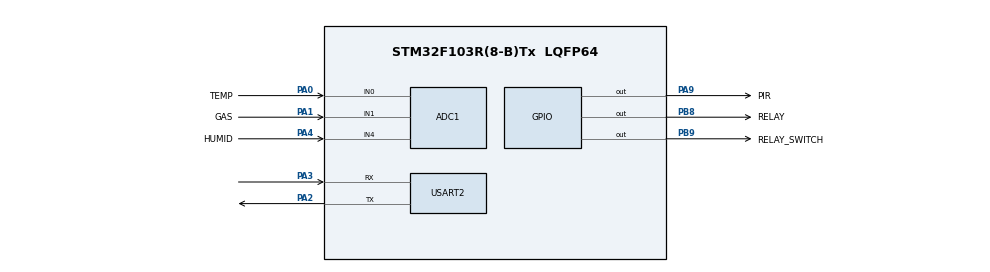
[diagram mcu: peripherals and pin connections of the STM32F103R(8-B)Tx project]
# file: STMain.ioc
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ADC1.Channel-2\#ChannelRegularConversion=ADC_CHANNEL_0
ADC1.Channel-3\#ChannelRegularConversion=ADC_CHANNEL_1
ADC1.Channel-4\#ChannelRegularConversion=ADC_CHANNEL_4
ADC1.ContinuousConvMode=DISABLE
ADC1.DataAlign=ADC_DATAALIGN_RIGHT
ADC1.DiscontinuousConvMode=ENABLE
ADC1.NbrOfConversion=3
ADC1.NbrOfConversionFlag=1
ADC1.NbrOfDiscConversion=3
ADC1.Rank-2\#ChannelRegularConversion=1
ADC1.Rank-3\#ChannelRegularConversion=2
ADC1.Rank-4\#ChannelRegularConversion=3
ADC1.SamplingTime-2\#ChannelRegularConversion=ADC_SAMPLETIME_1CYCLE_5
ADC1.SamplingTime-3\#ChannelRegularConversion=ADC_SAMPLETIME_1CYCLE_5
ADC1.SamplingTime-4\#ChannelRegularConversion=ADC_SAMPLETIME_1CYCLE_5
ADC1.master=1
Mcu.Family=STM32F1
Mcu.Name=STM32F103R(8-B)Tx
Mcu.Package=LQFP64
NVIC.PriorityGroup=NVIC_PRIORITYGROUP_4
NVIC.USART2_IRQn=true\:0\:0\:false\:false\:true\:true\:true\:true
PA0-WKUP.GPIO_Label=TEMP
PA0-WKUP.Signal=ADCx_IN0
PA1.GPIO_Label=GAS
PA1.Signal=ADCx_IN1
PA13.Mode=Serial_Wire
PA13.Signal=SYS_JTMS-SWDIO
PA14.Mode=Serial_Wire
PA14.Signal=SYS_JTCK-SWCLK
PA2.Mode=Asynchronous
PA2.Signal=USART2_TX
PA3.Mode=Asynchronous
PA3.Signal=USART2_RX
PA4.GPIO_Label=HUMID
PA4.Signal=ADCx_IN4
PA9.GPIO_Label=PIR
PA9.Signal=GPIO_Output
PB8.GPIO_Label=RELAY
PB8.Signal=GPIO_Output
PB9.GPIO_Label=RELAY_SWITCH
PB9.Signal=GPIO_Output
PC14-OSC32_IN.Mode=LSE-External-Oscillator
PC14-OSC32_IN.Signal=RCC_OSC32_IN
PC15-OSC32_OUT.Mode=LSE-External-Oscillator
PC15-OSC32_OUT.Signal=RCC_OSC32_OUT
ProjectManager.HeapSize=0x200
ProjectManager.StackSize=0x400
ProjectManager.TargetToolchain=STM32CubeIDE
RCC.APB1Freq_Value=8000000
RCC.APB1TimFreq_Value=8000000
RCC.APB2Freq_Value=8000000
RCC.SYSCLKSource=RCC_SYSCLKSOURCE_PLLCLK
SH.ADCx_IN0.0=ADC1_IN0,IN0
SH.ADCx_IN1.0=ADC1_IN1,IN1
SH.ADCx_IN4.0=ADC1_IN4,IN4
USART2.VirtualMode=VM_ASYNC
board=custom

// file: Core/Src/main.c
/* USER CODE BEGIN Header */
/**
  ******************************************************************************
  * @file           : main.c
  * @brief          : Main program body
  ******************************************************************************
  * @attention
  *
  * Copyright (c) 2023 STMicroelectronics.
  * All rights reserved.
  *
  * This software is licensed under terms that can be found in the LICENSE file
  * in the root directory of this software component.
  * If no LICENSE file comes with this software, it is provided AS-IS.
  *
  ******************************************************************************
  */
/* USER CODE END Header */
#include "main.h"

/* USER CODE BEGIN PTD */
typedef struct{
	int charSize;
	uint8_t charHolder;
	bool trigger;
	char printingBuffer[UART_BUF_SIZE];
	char writingBuffer[UART_BUF_SIZE];
} uartData_t;

/* USER CODE END PTD */

ADC_HandleTypeDef hadc1;

UART_HandleTypeDef huart2;

/* USER CODE BEGIN PV */
char data[BUFFER_SIZE];
uartData_t com;
char* command = "com ";

/* USER CODE END PV */

void SystemClock_Config(void);
static void MX_GPIO_Init(void);
static void MX_USART2_UART_Init(void);
static void MX_ADC1_Init(void);
/* USER CODE BEGIN PFP */
void motiontrack(void);
void gasTrack(void);
void THtrack(void);
void relayUnitTest(void);
bool UserCommands(void);

StatusTypeDef InitSystem(StateTypeDef*);
StatusTypeDef HandShake(StateTypeDef*);
StatusTypeDef Request_SQL(StateTypeDef*);
StatusTypeDef Controller(StateTypeDef*);
StatusTypeDef ReadModules(StateTypeDef*);
StatusTypeDef SleepMode(void);
StatusTypeDef WakeUPMode(void);

/* USER CODE END PFP */

/* USER CODE BEGIN 0 */
int _write(int file, char *ptr, int len)
{
	HAL_UART_Transmit(&huart2, (uint8_t *)ptr, len, 500);
	return len;
}

/* USER CODE END 0 */

int main(void)
{
  /* USER CODE BEGIN 1 */
	StateTypeDef runState = INIT;

	memset(com.printingBuffer, 0, UART_BUF_SIZE);
	com.charSize = 0;
	com.printingBuffer[com.charSize] = '\0';
	com.trigger = false;
	memcpy(com.writingBuffer, com.printingBuffer, UART_BUF_SIZE);

  /* USER CODE END 1 */

  /* MCU Configuration--------------------------------------------------------*/

  /* Reset of all peripherals, Initializes the Flash interface and the Systick. */
  HAL_Init();

  /* Configure the system clock */
  SystemClock_Config();

  /* Initialize all configured peripherals */
  MX_GPIO_Init();
  MX_USART2_UART_Init();
  MX_ADC1_Init();
  /* USER CODE BEGIN 2 */
  HAL_UART_Receive_IT(&huart2, (uint8_t *)&com.charHolder, sizeof(com.charHolder));

  printf("device init\r\n");
  InitSystem(&runState);
  /* USER CODE END 2 */

  /* Infinite loop */
  /* USER CODE BEGIN WHILE */
  while (1)
  {
#if MODULETEST
    gasTrack();
    THtrack();
    relayUnitTest();
    HAL_Delay(1500);
#endif

#if DEBUG_TEST
    UserCommands();
#endif

#if READY_TO_USE
    StatusTypeDef safeRun;

    switch (runState)
    {
		case SQL_REQUEST:
			Request_SQL(&runState);
			break;
		case CONTROL_SYSTEM:
			Controller(&runState);
			break;
		case READ_MODULES:
			ReadModules(&runState);
			break;
		case SLEEP:

			break;
		default:
			// should not enter
			assert(false);
			break;
	}
#endif
    /* USER CODE END WHILE */

  }
}

void SystemClock_Config(void)
{
  RCC_OscInitTypeDef RCC_OscInitStruct = {0};
  RCC_ClkInitTypeDef RCC_ClkInitStruct = {0};
  RCC_PeriphCLKInitTypeDef PeriphClkInit = {0};

  /** Initializes the RCC Oscillators according to the specified parameters
  * in the RCC_OscInitTypeDef structure.
  */
  RCC_OscInitStruct.OscillatorType = RCC_OSCILLATORTYPE_HSI;
  RCC_OscInitStruct.HSIState = RCC_HSI_ON;
  RCC_OscInitStruct.HSICalibrationValue = RCC_HSICALIBRATION_DEFAULT;
  RCC_OscInitStruct.PLL.PLLState = RCC_PLL_ON;
  RCC_OscInitStruct.PLL.PLLSource = RCC_PLLSOURCE_HSI_DIV2;
  RCC_OscInitStruct.PLL.PLLMUL = RCC_PLL_MUL2;
  if (HAL_RCC_OscConfig(&RCC_OscInitStruct) != HAL_OK)
  {
    Error_Handler();
  }

  /** Initializes the CPU, AHB and APB buses clocks
  */
  RCC_ClkInitStruct.ClockType = RCC_CLOCKTYPE_HCLK|RCC_CLOCKTYPE_SYSCLK
                              |RCC_CLOCKTYPE_PCLK1|RCC_CLOCKTYPE_PCLK2;
  RCC_ClkInitStruct.SYSCLKSource = RCC_SYSCLKSOURCE_PLLCLK;
  RCC_ClkInitStruct.AHBCLKDivider = RCC_SYSCLK_DIV1;
  RCC_ClkInitStruct.APB1CLKDivider = RCC_HCLK_DIV1;
  RCC_ClkInitStruct.APB2CLKDivider = RCC_HCLK_DIV1;

  if (HAL_RCC_ClockConfig(&RCC_ClkInitStruct, FLASH_LATENCY_0) != HAL_OK)
  {
    Error_Handler();
  }
  PeriphClkInit.PeriphClockSelection = RCC_PERIPHCLK_ADC;
  PeriphClkInit.AdcClockSelection = RCC_ADCPCLK2_DIV2;
  if (HAL_RCCEx_PeriphCLKConfig(&PeriphClkInit) != HAL_OK)
  {
    Error_Handler();
  }
}

static void MX_ADC1_Init(void)
{

  ADC_ChannelConfTypeDef sConfig = {0};

  /** Common config
  */
  hadc1.Instance = ADC1;
  hadc1.Init.ScanConvMode = ADC_SCAN_ENABLE;
  hadc1.Init.ContinuousConvMode = DISABLE;
  hadc1.Init.DiscontinuousConvMode = ENABLE;
  hadc1.Init.NbrOfDiscConversion = 3;
  hadc1.Init.ExternalTrigConv = ADC_SOFTWARE_START;
  hadc1.Init.DataAlign = ADC_DATAALIGN_RIGHT;
  hadc1.Init.NbrOfConversion = 3;
  if (HAL_ADC_Init(&hadc1) != HAL_OK)
  {
    Error_Handler();
  }

  /** Configure Regular Channel
  */
  sConfig.Channel = ADC_CHANNEL_0;
  sConfig.Rank = ADC_REGULAR_RANK_1;
  sConfig.SamplingTime = ADC_SAMPLETIME_1CYCLE_5;
  if (HAL_ADC_ConfigChannel(&hadc1, &sConfig) != HAL_OK)
  {
    Error_Handler();
  }

  /** Configure Regular Channel
  */
  sConfig.Channel = ADC_CHANNEL_1;
  sConfig.Rank = ADC_REGULAR_RANK_2;
  if (HAL_ADC_ConfigChannel(&hadc1, &sConfig) != HAL_OK)
  {
    Error_Handler();
  }

  /** Configure Regular Channel
  */
  sConfig.Channel = ADC_CHANNEL_4;
  sConfig.Rank = ADC_REGULAR_RANK_3;
  if (HAL_ADC_ConfigChannel(&hadc1, &sConfig) != HAL_OK)
  {
    Error_Handler();
  }

}

static void MX_USART2_UART_Init(void)
{

  huart2.Instance = USART2;
  huart2.Init.BaudRate = 115200;
  huart2.Init.WordLength = UART_WORDLENGTH_8B;
  huart2.Init.StopBits = UART_STOPBITS_1;
  huart2.Init.Parity = UART_PARITY_NONE;
  huart2.Init.Mode = UART_MODE_TX_RX;
  huart2.Init.HwFlowCtl = UART_HWCONTROL_NONE;
  huart2.Init.OverSampling = UART_OVERSAMPLING_16;
  if (HAL_UART_Init(&huart2) != HAL_OK)
  {
    Error_Handler();
  }

}

static void MX_GPIO_Init(void)
{
  GPIO_InitTypeDef GPIO_InitStruct = {0};

  /* GPIO Ports Clock Enable */
  __HAL_RCC_GPIOC_CLK_ENABLE();
  __HAL_RCC_GPIOA_CLK_ENABLE();
  __HAL_RCC_GPIOB_CLK_ENABLE();

  /*Configure GPIO pin Output Level */
  HAL_GPIO_WritePin(PIR_GPIO_Port, PIR_Pin, GPIO_PIN_RESET);

  /*Configure GPIO pin Output Level */
  HAL_GPIO_WritePin(GPIOB, RELAY_Pin|RELAY_SWITCH_Pin, GPIO_PIN_RESET);

  /*Configure GPIO pin : PIR_Pin */
  GPIO_InitStruct.Pin = PIR_Pin;
  GPIO_InitStruct.Mode = GPIO_MODE_OUTPUT_PP;
  GPIO_InitStruct.Pull = GPIO_NOPULL;
  GPIO_InitStruct.Speed = GPIO_SPEED_FREQ_LOW;
  HAL_GPIO_Init(PIR_GPIO_Port, &GPIO_InitStruct);

  /*Configure GPIO pins : RELAY_Pin RELAY_SWITCH_Pin */
  GPIO_InitStruct.Pin = RELAY_Pin|RELAY_SWITCH_Pin;
  GPIO_InitStruct.Mode = GPIO_MODE_OUTPUT_PP;
  GPIO_InitStruct.Pull = GPIO_NOPULL;
  GPIO_InitStruct.Speed = GPIO_SPEED_FREQ_LOW;
  HAL_GPIO_Init(GPIOB, &GPIO_InitStruct);

}

/* USER CODE BEGIN 4 */
/*
 * @note: buffer size is intentionally set to 1, for reading enter key
 * 				2Xspacebar equals to enter key
 * */
void HAL_UART_RxCpltCallback(UART_HandleTypeDef *huart)
{
	if(huart->Instance == USART2)
	{
		if(com.charHolder == '\n')
		{
			printf(com.printingBuffer);
			printf("\r\n");
			memcpy(com.writingBuffer, com.printingBuffer, sizeof(com.printingBuffer));
			memset(com.printingBuffer, 0, sizeof(com.printingBuffer));
			com.charSize = 0;
			com.printingBuffer[com.charSize] = '\0';
			com.trigger = true;
		}
		else
		{
			com.printingBuffer[com.charSize] = com.charHolder;
			com.printingBuffer[com.charSize + 1] = '\0';
			// printf("%c", com.charHolder);
			com.charSize++;
		}
	}
	HAL_UART_Receive_IT(&huart2, (uint8_t *)&com.charHolder, sizeof(com.charHolder));
}

StatusTypeDef InitSystem(StateTypeDef* runState)
{
	StatusTypeDef a = NORMAL;
	HandShake(runState);
	ReadModules(runState);
	Request_SQL(runState);
	Controller(runState);

	return a;
}
StatusTypeDef HandShake(StateTypeDef* runState)
{
	StatusTypeDef a = NORMAL;
	return a;
}
StatusTypeDef Request_SQL(StateTypeDef* runState)
{
	StatusTypeDef a = NORMAL;
	return a;
}
StatusTypeDef Controller(StateTypeDef*)
{
	StatusTypeDef a = NORMAL;
	return a;
}
StatusTypeDef ReadModules(StateTypeDef* runState)
{
	StatusTypeDef a = NORMAL;
	return a;
}
StatusTypeDef SleepMode()
{
	// SUSPEND SYSTICK
	HAL_SuspendTick();
	// ENABLE POWER PERIPHERAL
	__HAL_RCC_PWR_CLK_ENABLE();
	// SLEEP MODE
	HAL_PWR_EnterSLEEPMode(PWR_MAINREGULATOR_ON, PWR_SLEEPENTRY_WFI);
}

StatusTypeDef WakeUPMode()
{
	HAL_ResumeTick();
}

bool UserCommands()
{
	if(com.trigger == false)
	{
		return false;
	}
	if(com.charSize < COMMAND_MIN_LENGTH)
	{
		return false;
	}

	size_t index = 0;
	while(*command != '\0')
	{
		if(com.writingBuffer[index] != *command)
		{
			printf("COMMANDINIT: %d", COMMANDINIT);
			printf("command: %c\r\nbuffer: %c\r\n", *command, com.writingBuffer[index]);
			com.trigger = false;
			return false;
		}
		++command;
		++index;
	}
	printf("str: %c\r\n", com.writingBuffer[COMMANDINIT]);
	if(com.writingBuffer[COMMANDINIT] == 'd')
	{
		//TODO: do sth
	}
	else if(com.writingBuffer[COMMANDINIT] == 'a')
	{
		//TODO: do sth
		HAL_GPIO_TogglePin(RELAY_SWITCH_GPIO_Port, RELAY_SWITCH_Pin);
		printf("command init\r\n");
		printf("*************\r\n");
		printf(com.writingBuffer);
		printf("\r\n");
		printf("*************\r\n");
		HAL_Delay(1000);
	}

	com.trigger = false;
	return true;
}

/*
 * @note not yet completely work
 * @port/pin PA9
 * */
void motionTrack(void)
{
	GPIO_PinState motionDetected = HAL_GPIO_ReadPin(PIR_GPIO_Port, PIR_Pin);
	if(motionDetected == SET)
	{
		printf("motion detected\r\n");
	}
	else
	{
		printf("No one is there\r\n");
	}
}

/*
 * @note STM32 is 12bits data transfer and Arduino is 10bits
 * 5v / 1024
 * 3.3 / 4096
 * still confuse 16bits and 12bits
 * */
void gasTrack(void)
{
	  HAL_ADC_Start(&hadc1);
	  HAL_ADC_PollForConversion(&hadc1, 10);
	  float gasVal = HAL_ADC_GetValue(&hadc1);

	  gasVal = (int)(gasVal / ADC_BIT_RESOLUTION * 1024);

	  memset(data, 0 , sizeof(data));
	  sprintf(data, "current gas value: %0.2d\r\n", gasVal);
	  printf(data);
}
void THtrack(void)
{
	HAL_ADC_Start(&hadc1);
	HAL_ADC_PollForConversion(&hadc1, 10);
	float temp = HAL_ADC_GetValue(&hadc1);

	HAL_ADC_Start(&hadc1);
	HAL_ADC_PollForConversion(&hadc1, 10);
	float hud = HAL_ADC_GetValue(&hadc1);

	temp = -66.875 + 218.75 * (temp / ADC_BIT_RESOLUTION);
	hud = -12.5 + 125 * (hud / ADC_BIT_RESOLUTION);
	memset(data, 0 , sizeof(data));
	sprintf(data, "current temp: %0.2f`C\r\ncurrent humuduty: %0.2f%%%%\r\n\r\n", temp, hud);

	printf(data);
}
void relayUnitTest(void)
{
	//HAL_GPIO_TogglePin(RELAY_GPIO_Port, RELAY_Pin);
	int pinState = HIGH;
	HAL_GPIO_WritePin(RELAY_GPIO_Port, RELAY_Pin, pinState);
	HAL_GPIO_WritePin(RELAY_SWITCH_GPIO_Port, RELAY_SWITCH_Pin, pinState);
}
/* USER CODE END 4 */

void Error_Handler(void)
{
  __disable_irq();
  while (1)
  {
  }
}
